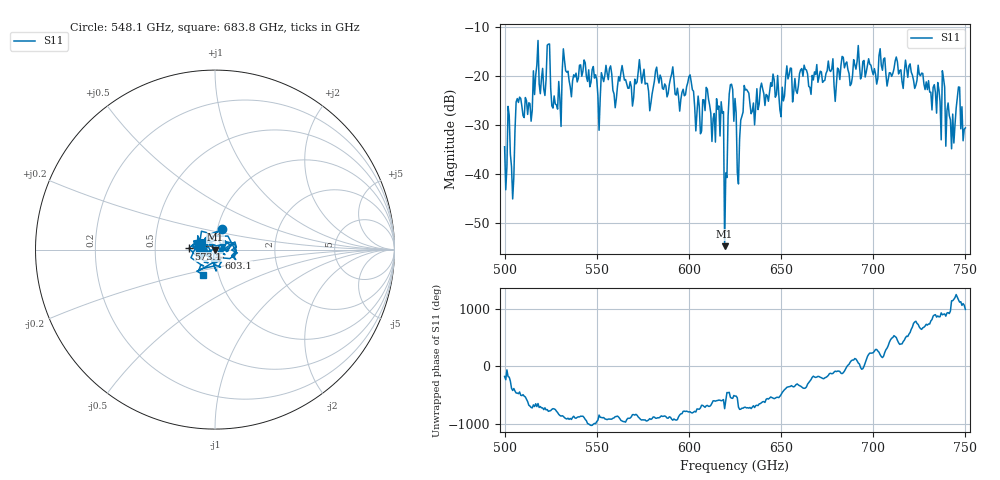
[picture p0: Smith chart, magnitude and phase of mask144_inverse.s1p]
!Created with skrf (http://scikit-rf.org).
# GHz S MA R 50.0
!freq magS11 angS11
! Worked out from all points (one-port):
!   401 points, 500 GHz to 750 GHz, reference 50 ohm
!   lowest |S11| = -54.7 dB at 619.4 GHz (marker M1), VSWR 1.00, Z = 50.2 - j0.0608 ohm
!   |S11| at or under -10 dB: start of sweep to end of sweep
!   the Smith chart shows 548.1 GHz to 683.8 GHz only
!   S11 on the Smith chart (normalised r, x): 548.1 GHz: 1.05, +0.25; 573.1 GHz: 0.75, +0.01; 603.1 GHz: 1.04, -0.09; 683.8 GHz: 0.85, -0.24
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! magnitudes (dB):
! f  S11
! 500 GHz  -34.4
! 504.4 GHz  -45.1
! 507.5 GHz  -25.4
! 513.8 GHz  -25.7
! 516.9 GHz  -19.9
! 523.8 GHz  -13.6
! 527.5 GHz  -25.7
! 531.2 GHz  -19.0
! 548.1 GHz  -18.1
! 562.5 GHz  -21.1
! 573.1 GHz  -16.7
! 593.8 GHz  -22.5
! 603.1 GHz  -26.3
! 617.5 GHz  -25.3
! 619.4 GHz  -54.7
! 620.6 GHz  -40.7
! 622.5 GHz  -21.8
! 625 GHz  -24.6
! 627.5 GHz  -32.8
! 631.2 GHz  -22.8
! 635 GHz  -25.5
! 656.2 GHz  -25.3
! 683.8 GHz  -16.2
! 687.5 GHz  -22.0
! 718.8 GHz  -20.3
! 743.1 GHz  -27.8
! 746.9 GHz  -22.3
! 750 GHz  -30.6
